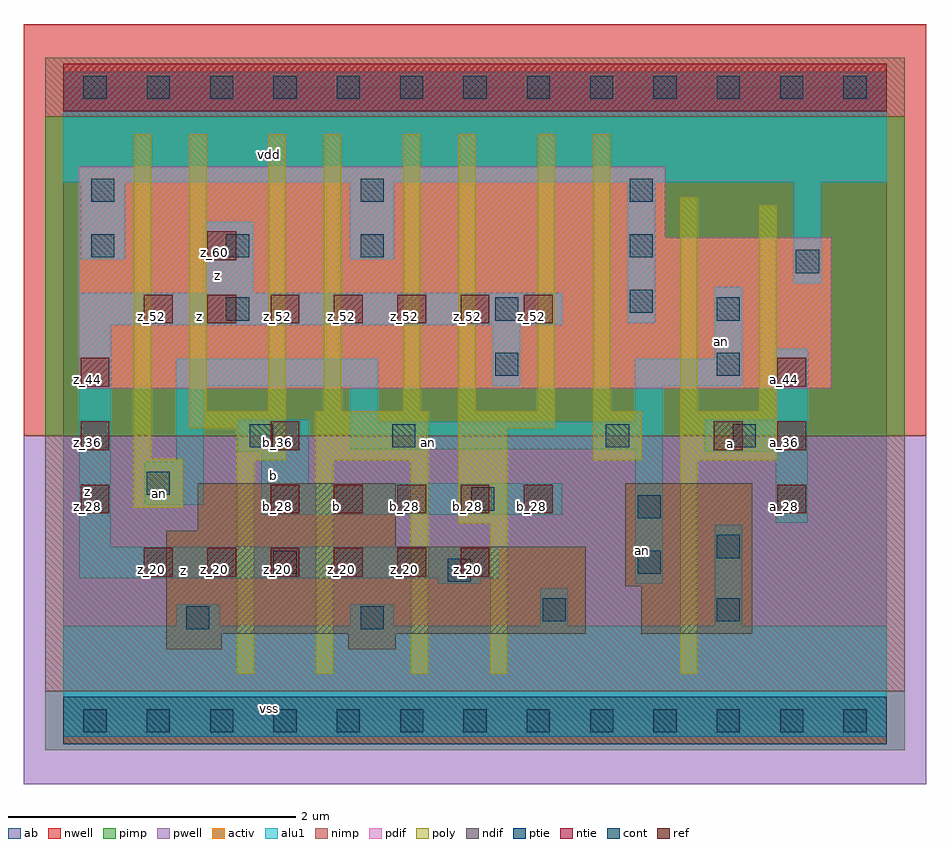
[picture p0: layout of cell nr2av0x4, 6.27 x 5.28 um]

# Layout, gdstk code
import gdstk
lib = gdstk.Library(unit=1e-6, precision=2.5e-09)
def R(c, l, rs):  # rectangles x0, y0, x1, y1
    for r in rs: c.add(gdstk.rectangle(r[:2], r[2:], *l))
def A(c, l, x, y, w, h, nx, ny, dx, dy):  # array of equal rectangles
    R(c, l, [(x+i*dx, y+j*dy, x+i*dx+w, y+j*dy+h) for i in range(nx) for j in range(ny)])
ndif = (3, 0)
pdif = (4, 0)
ntie = (5, 0)
ptie = (6, 0)
ref = (24, 0)
cont = (25, 0)
pwell = (41, 0)
nwell = (42, 0)
activ = (43, 0)
pimp = (44, 0)
nimp = (45, 0)
poly = (46, 0)
alu1 = (49, 0)
ab = (63, 0)

nr2av0x4 = lib.new_cell('nr2av0x4')
R(nr2av0x4, ndif, [(0.715,0.495,1.1,0.605), (1.98,0.495,2.31,0.605), (0.715,0.605,3.63,1.21), (4.015,0.605,4.785,0.935), (3.905,0.935,4.785,1.65), (0.715,1.21,2.31,1.32), (0.935,1.32,2.31,1.65)])
R(nr2av0x4, pdif, [(0.11,2.31,5.335,3.355), (0.11,3.355,4.18,3.85)])
R(nr2av0x4, ntie, [(0,4.235,5.72,4.565)])
R(nr2av0x4, ptie, [(0,-0.165,5.72,0.165)])
A(nr2av0x4, ref, 0.56, 1, 0.2, 0.2, 6, 1, 0.44, 0)
A(nr2av0x4, ref, 0.12, 1.44, 0.2, 0.2, 1, 3, 0, 0.44)
A(nr2av0x4, ref, 1.44, 1.44, 0.2, 0.2, 5, 1, 0.44, 0)
A(nr2av0x4, ref, 4.96, 1.44, 0.2, 0.2, 1, 3, 0, 0.44)
A(nr2av0x4, ref, 0.56, 2.76, 0.2, 0.2, 7, 1, 0.44, 0)
R(nr2av0x4, ref, [(1.44,1.88,1.64,2.08), (4.52,1.88,4.72,2.08), (1,3.2,1.2,3.4)])
A(nr2av0x4, cont, 0.14, -0.08, 0.16, 0.16, 13, 2, 0.44, 4.4)
A(nr2av0x4, cont, 0.195, 3.22, 0.16, 0.16, 3, 1, 0.935, 0)
A(nr2av0x4, cont, 0.195, 3.605, 0.16, 0.16, 3, 1, 1.87, 0)
R(nr2av0x4, cont, [(0.855,0.635,1.015,0.795), (2.065,0.635,2.225,0.795), (3.33,0.69,3.49,0.85), (4.54,0.69,4.7,0.85), (2.67,0.965,2.83,1.125), (1.46,1.02,1.62,1.18), (3.99,1.02,4.15,1.18), (4.54,1.13,4.7,1.29), (3.99,1.405,4.15,1.565), (2.835,1.46,2.995,1.62), (0.58,1.57,0.74,1.73), (1.295,1.9,1.455,2.06), (2.285,1.9,2.445,2.06), (3.77,1.9,3.93,2.06), (4.65,1.9,4.81,2.06), (3,2.395,3.16,2.555), (4.54,2.395,4.7,2.555), (1.13,2.78,1.29,2.94), (3,2.78,3.16,2.94), (4.54,2.78,4.7,2.94), (3.935,2.835,4.095,2.995), (5.09,3.11,5.25,3.27), (3.935,3.22,4.095,3.38)])
R(nr2av0x4, pwell, [(-0.275,-0.44,5.995,1.98)])
R(nr2av0x4, nwell, [(-0.275,1.98,5.995,4.84)])
R(nr2av0x4, activ, [(0,-0.165,5.72,0.165), (0.715,0.495,1.1,0.605), (1.98,0.495,2.31,0.605), (0.715,0.605,3.63,1.21), (4.015,0.605,4.785,0.935), (3.905,0.935,4.785,1.65), (0.715,1.21,2.31,1.32), (0.935,1.32,2.31,1.65), (0.11,2.31,5.335,3.355), (0.11,3.355,4.18,3.85), (0,4.235,5.72,4.565)])
R(nr2av0x4, pimp, [(-0.125,-0.205,5.845,0.205), (-0.125,1.98,5.845,4.195)])
R(nr2av0x4, nimp, [(-0.125,0.205,5.845,1.98), (-0.125,4.195,5.845,4.605)])
R(nr2av0x4, poly, [(1.205,0.325,1.325,1.81), (1.755,0.325,1.875,1.81), (2.415,0.325,2.535,1.81), (2.965,0.325,3.085,1.37), (4.285,0.325,4.405,1.81), (2.745,1.37,3.085,2.03), (0.49,1.48,0.83,1.82), (1.205,1.81,1.545,2.03), (1.755,1.81,2.535,2.15), (3.68,1.81,4.02,2.15), (4.285,1.81,4.955,2.15), (0.49,1.82,0.61,4.075), (0.875,2.03,1.545,2.15), (2.745,2.03,3.415,2.15), (0.875,2.15,0.995,4.075), (1.425,2.15,1.545,4.075), (1.81,2.15,1.93,4.075), (2.36,2.15,2.48,4.075), (2.745,2.15,2.865,4.075), (3.295,2.15,3.415,4.075), (3.68,2.15,3.8,4.075), (4.285,2.15,4.405,3.635), (4.835,2.15,4.955,3.58)])
R(nr2av0x4, alu1, [(0,-0.11,5.72,0.66), (0.785,0.66,1.085,0.81), (1.995,0.66,2.295,0.81), (3.315,0.66,3.505,0.92), (4.525,0.66,4.715,1.36), (2.6,0.95,2.9,0.99), (3.975,0.95,4.165,1.885), (0.11,0.99,3.025,1.21), (0.11,1.21,0.33,2.75), (4.95,1.375,5.17,1.87), (1.375,1.43,3.465,1.65), (0.565,1.5,0.975,1.8), (1.375,1.65,1.705,1.87), (0.785,1.8,0.975,2.325), (1.21,1.87,1.705,2.09), (4.455,1.87,5.17,2.09), (1.995,1.885,4.165,2.075), (1.995,2.075,2.185,2.325), (3.975,2.075,4.165,2.325), (4.95,2.09,5.17,2.585), (0.785,2.325,2.185,2.515), (2.985,2.325,3.175,2.75), (3.975,2.325,4.715,2.515), (4.525,2.515,4.715,3.01), (0.11,2.75,3.465,2.97), (3.92,2.765,4.11,3.74), (0.99,2.97,1.32,3.465), (5.075,3.04,5.265,3.74), (0.125,3.205,0.425,3.74), (1.995,3.205,2.295,3.74), (0,3.74,5.72,4.51)])
R(nr2av0x4, ab, [(0,0,5.72,4.4)])
nr2av0x4.add(gdstk.Label('vss', (1.43,0.0825), layer=49, texttype=0))
nr2av0x4.add(gdstk.Label('a', (4.6325,1.925), layer=49, texttype=0))
nr2av0x4.add(gdstk.Label('an', (4.0225,1.1825), layer=49, texttype=0))
nr2av0x4.add(gdstk.Label('z', (0.8375,1.045), layer=49, texttype=0))
nr2av0x4.add(gdstk.Label('b', (1.8975,1.485), layer=49, texttype=0))
nr2av0x4.add(gdstk.Label('b', (1.4575,1.705), layer=49, texttype=0))
nr2av0x4.add(gdstk.Label('an', (0.6675,1.575), layer=49, texttype=0))
nr2av0x4.add(gdstk.Label('an', (2.5375,1.9325), layer=49, texttype=0))
nr2av0x4.add(gdstk.Label('an', (4.5725,2.6375), layer=49, texttype=0))
nr2av0x4.add(gdstk.Label('z', (0.165,1.595), layer=49, texttype=0))
nr2av0x4.add(gdstk.Label('z', (0.9475,2.805), layer=49, texttype=0))
nr2av0x4.add(gdstk.Label('z', (1.0725,3.0925), layer=49, texttype=0))
nr2av0x4.add(gdstk.Label('vdd', (1.43,3.9325), layer=49, texttype=0))
nr2av0x4.add(gdstk.Label('z_20', (0.61,1.05), layer=24, texttype=0))
nr2av0x4.add(gdstk.Label('z_52', (0.61,2.81), layer=24, texttype=0))
nr2av0x4.add(gdstk.Label('z_20', (1.05,1.05), layer=24, texttype=0))
nr2av0x4.add(gdstk.Label('z_52', (1.05,2.81), layer=24, texttype=0))
nr2av0x4.add(gdstk.Label('z_60', (1.05,3.25), layer=24, texttype=0))
nr2av0x4.add(gdstk.Label('z_20', (1.49,1.05), layer=24, texttype=0))
nr2av0x4.add(gdstk.Label('b_28', (1.49,1.49), layer=24, texttype=0))
nr2av0x4.add(gdstk.Label('b_36', (1.49,1.93), layer=24, texttype=0))
nr2av0x4.add(gdstk.Label('z_52', (1.49,2.81), layer=24, texttype=0))
nr2av0x4.add(gdstk.Label('z_20', (1.93,1.05), layer=24, texttype=0))
nr2av0x4.add(gdstk.Label('b_28', (1.93,1.49), layer=24, texttype=0))
nr2av0x4.add(gdstk.Label('z_52', (1.93,2.81), layer=24, texttype=0))
nr2av0x4.add(gdstk.Label('z_28', (0.17,1.49), layer=24, texttype=0))
nr2av0x4.add(gdstk.Label('z_36', (0.17,1.93), layer=24, texttype=0))
nr2av0x4.add(gdstk.Label('z_44', (0.17,2.37), layer=24, texttype=0))
nr2av0x4.add(gdstk.Label('z_20', (2.37,1.05), layer=24, texttype=0))
nr2av0x4.add(gdstk.Label('b_28', (2.37,1.49), layer=24, texttype=0))
nr2av0x4.add(gdstk.Label('z_52', (2.37,2.81), layer=24, texttype=0))
nr2av0x4.add(gdstk.Label('z_20', (2.81,1.05), layer=24, texttype=0))
nr2av0x4.add(gdstk.Label('b_28', (2.81,1.49), layer=24, texttype=0))
nr2av0x4.add(gdstk.Label('z_52', (2.81,2.81), layer=24, texttype=0))
nr2av0x4.add(gdstk.Label('b_28', (3.25,1.49), layer=24, texttype=0))
nr2av0x4.add(gdstk.Label('z_52', (3.25,2.81), layer=24, texttype=0))
nr2av0x4.add(gdstk.Label('a_36', (4.57,1.93), layer=24, texttype=0))
nr2av0x4.add(gdstk.Label('a_28', (5.01,1.49), layer=24, texttype=0))
nr2av0x4.add(gdstk.Label('a_36', (5.01,1.93), layer=24, texttype=0))
nr2av0x4.add(gdstk.Label('a_44', (5.01,2.37), layer=24, texttype=0))

lib.write_gds('nr2av0x4.gds')
